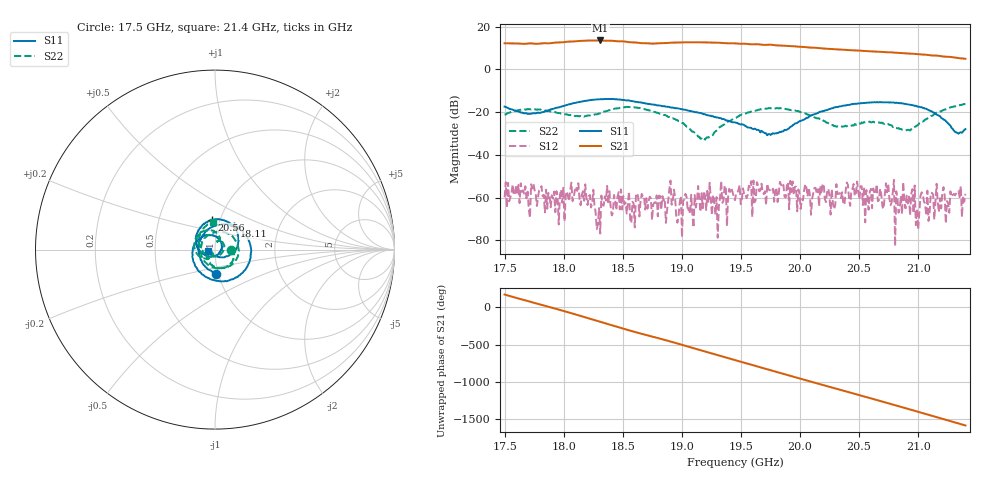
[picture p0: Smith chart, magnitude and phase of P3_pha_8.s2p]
!Created with skrf (http://scikit-rf.org).
# GHz S RI R 50.0
!freq ReS11 ImS11 ReS21 ImS21 ReS12 ImS12 ReS22 ImS22
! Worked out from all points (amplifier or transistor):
!   401 points, 17.5 GHz to 21.4 GHz, reference 50 ohm
!   highest |S21| = 13.6 dB at 18.31 GHz (marker M1)
!   |S21| within 3 dB of that: start of sweep to 20.02 GHz
!   unconditionally stable (mu >= 1): start of sweep to end of sweep
!   at 18.14 GHz: K = 156.19, MAG = 13.5 dB, |S12| = -63.6 dB
!   at 19.45 GHz: K = 139.85, MAG = 12.2 dB, |S12| = -61.2 dB
!   at 21.4 GHz: K = 223.21, MAG = 5.1 dB, |S12| = -58.2 dB
!   S11 on the Smith chart (normalised r, x): 17.5 GHz: 0.98, -0.27; 18.11 GHz: 1.19, +0.32; 20.56 GHz: 0.92, +0.31; 21.4 GHz: 0.92, -0.01
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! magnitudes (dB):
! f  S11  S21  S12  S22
! 17.5 GHz  -17.4  12.3  -59.9  -21.1
! 17.74 GHz  -20.5  12.1  -53.5  -18.5
! 17.95 GHz  -17.9  12.6  -59.4  -20.4
! 18.11 GHz  -15.4  13.3  -56.9  -21.8
! 18.15 GHz  -15.0  13.4  -58.6  -22.0
! 18.31 GHz  -13.9  13.6  -76.8  -20.5
! 18.37 GHz  -13.8  13.4  -54.5  -19.4
! 18.58 GHz  -14.9  12.7  -62.0  -17.6
! 18.81 GHz  -16.8  12.3  -59.1  -20.5
! 18.91 GHz  -17.9  12.5  -63.3  -22.9
! 18.98 GHz  -18.4  12.6  -62.3  -24.5
! 19.18 GHz  -20.8  12.7  -65.0  -32.9
! 19.29 GHz  -22.5  12.5  -59.7  -28.6
! 19.35 GHz  -23.2  12.3  -61.4  -26.0
! 19.45 GHz  -24.8  12.2  -61.2  -22.8
! 19.74 GHz  -30.3  11.6  -56.3  -18.1
! 20.1 GHz  -21.3  10.2  -60.4  -21.9
! 20.56 GHz  -15.6  8.6  -56.4  -24.7
! 20.76 GHz  -15.4  8.0  -60.3  -26.0
! 21 GHz  -17.5  7.1  -75.0  -25.9
! 21.04 GHz  -18.0  7.0  -58.4  -24.5
! 21.4 GHz  -28.0  5.0  -58.2  -16.1
